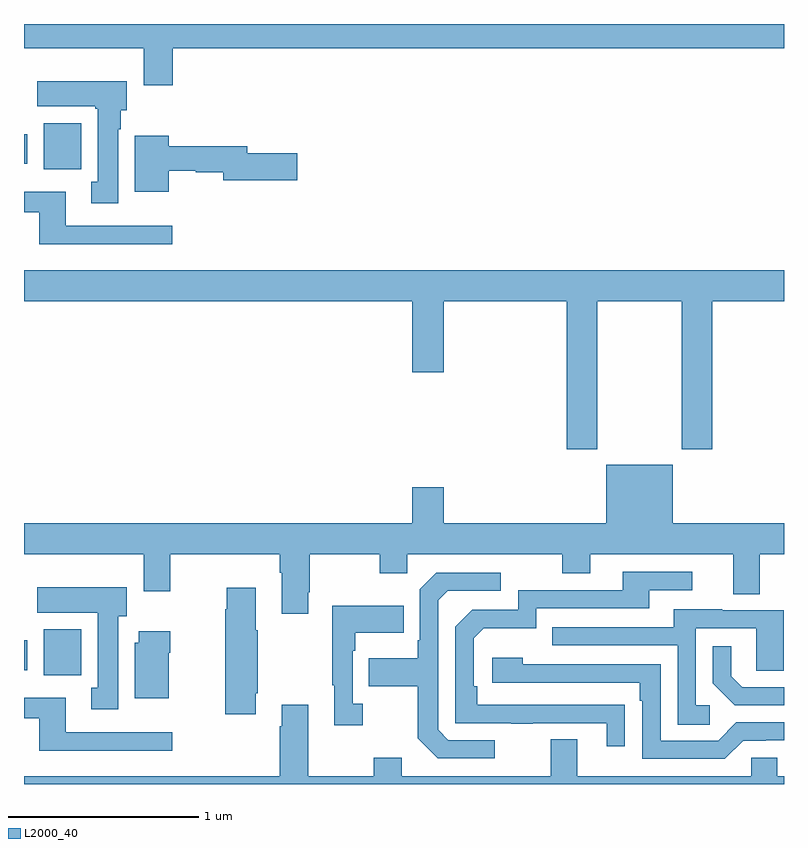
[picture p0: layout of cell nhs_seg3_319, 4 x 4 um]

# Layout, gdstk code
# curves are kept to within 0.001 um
import gdstk
lib = gdstk.Library(unit=1e-6, precision=1e-09)
def R(c, l, rs):  # rectangles x0, y0, x1, y1
    for r in rs: c.add(gdstk.rectangle(r[:2], r[2:], *l))
def P(c, l, *ps):  # polygons
    for p in ps: c.add(gdstk.Polygon(p, *l))
L2000_40 = (2000, 40)

nhs_seg3_319 = lib.new_cell('nhs_seg3_319')
R(nhs_seg3_319, L2000_40, [(127.103,674.972,127.3,675.214), (127,675,127.018,675.156), (127.103,677.636,127.3,677.878), (127,677.664,127.018,677.82)])
P(nhs_seg3_319, L2000_40, [(127.784,678.272),(131,678.272),(131,678.4),(127,678.4),(127,678.272),(127.631,678.272),(127.631,678.078),(127.784,678.078)],
  [(127.495,677.846),(127.51,677.846),(127.51,677.946),(127.54,677.946),(127.54,678.1),(127.071,678.1),(127.071,677.966),(127.375,677.966),(127.375,677.953),(127.388,677.953),(127.388,677.57),(127.355,677.57),(127.355,677.457),(127.495,677.457)],
  [(127.762,677.628),(127.905,677.628),(127.905,677.62),(128.048,677.62),(128.048,677.578),(128.437,677.578),(128.437,677.72),(128.176,677.72),(128.176,677.756),(127.762,677.756),(127.762,677.812),(127.583,677.812),(127.583,677.516),(127.762,677.516)],
  [(127.78,677.337),(127.219,677.337),(127.219,677.518),(127,677.518),(127,677.409),(127.079,677.409),(127.079,677.24),(127.78,677.24)],
  [(130.017,676.94),(130.462,676.94),(130.462,676.161),(130.622,676.161),(130.622,676.94),(131,676.94),(131,677.104),(127,677.104),(127,676.94),(129.044,676.94),(129.044,676.566),(129.208,676.566),(129.208,676.94),(129.857,676.94),(129.857,676.161),(130.017,676.161)],
  [(128.497,675.409),(128.505,675.409),(128.505,675.608),(128.872,675.608),(128.872,675.509),(129.018,675.509),(129.018,675.608),(129.832,675.608),(129.832,675.509),(129.979,675.509),(129.979,675.608),(130.733,675.608),(130.733,675.4),(130.873,675.4),(130.873,675.608),(131,675.608),(131,675.772),(130.414,675.772),(130.414,676.081),(130.064,676.081),(130.064,675.772),(129.208,675.772),(129.208,675.961),(129.044,675.961),(129.044,675.772),(127,675.772),(127,675.608),(127.631,675.608),(127.631,675.414),(127.771,675.414),(127.771,675.608),(128.345,675.608),(128.345,675.512),(128.357,675.512),(128.357,675.297),(128.497,675.297)],
  [(130.163,674.816),(129.386,674.817),(129.386,674.914),(129.366,674.914),(129.366,675.168),(129.419,675.221),(129.696,675.221),(129.696,675.324),(130.291,675.324),(130.291,675.42),(130.516,675.42),(130.516,675.516),(130.151,675.516),(130.151,675.42),(129.6,675.42),(129.6,675.318),(129.36,675.318),(129.27,675.228),(129.27,674.721),(129.565,674.721),(129.565,674.716),(129.677,674.716),(129.677,674.721),(130.067,674.721),(130.067,674.598),(130.163,674.598)],
  [(129.477,674.631),(129.234,674.631),(129.18,674.685),(129.18,675.366),(129.231,675.417),(129.508,675.417),(129.508,675.513),(129.171,675.513),(129.084,675.426),(129.084,675.157),(129.072,675.157),(129.072,675.061),(128.815,675.061),(128.815,674.914),(129.072,674.914),(129.072,674.641),(129.177,674.535),(129.477,674.535)],
  [(127.495,675.282),(127.54,675.282),(127.54,675.436),(127.071,675.436),(127.071,675.302),(127.388,675.302),(127.388,674.906),(127.355,674.906),(127.355,674.793),(127.495,674.793)],
  [(128.221,674.878),(128.229,674.878),(128.229,675.209),(128.221,675.209),(128.221,675.433),(128.066,675.433),(128.066,675.32),(128.059,675.32),(128.059,674.766),(128.221,674.766)],
  [(128.782,674.822),(128.73,674.822),(128.73,675.101),(128.743,675.101),(128.743,675.197),(128.999,675.197),(128.999,675.337),(128.622,675.337),(128.622,674.921),(128.633,674.921),(128.633,674.709),(128.782,674.709)],
  [(130.608,674.814),(130.536,674.814),(130.536,675.219),(130.854,675.219),(130.854,674.995),(130.999,674.995),(130.999,675.315),(130.675,675.315),(130.675,675.319),(130.421,675.319),(130.421,675.225),(129.781,675.225),(129.781,675.129),(130.44,675.129),(130.44,674.713),(130.608,674.713)],
  [(127.762,675.092),(127.77,675.092),(127.77,675.205),(127.604,675.205),(127.604,675.144),(127.583,675.144),(127.583,674.852),(127.762,674.852)],
  [(131,674.91),(130.78,674.91),(130.723,674.967),(130.723,675.124),(130.626,675.124),(130.626,674.93),(130.742,674.814),(131,674.814)],
  [(130.785,674.628),(130.904,674.628),(130.904,674.631),(131,674.631),(131,674.724),(130.749,674.724),(130.653,674.628),(130.35,674.628),(130.35,675.03),(129.626,675.03),(129.626,675.064),(129.465,675.064),(129.465,674.934),(130.241,674.934),(130.241,674.837),(130.254,674.837),(130.254,674.532),(130.689,674.532)],
  [(127.78,674.673),(127.219,674.673),(127.219,674.854),(127,674.854),(127,674.745),(127.079,674.745),(127.079,674.576),(127.78,674.576)],
  [(128.357,674.818),(128.357,674.705),(128.345,674.705),(128.345,674.44),(127,674.44),(127,674.4),(131,674.4),(131,674.44),(130.965,674.44),(130.965,674.538),(130.827,674.538),(130.827,674.44),(129.913,674.44),(129.913,674.635),(129.773,674.635),(129.773,674.44),(128.989,674.44),(128.989,674.539),(128.842,674.539),(128.842,674.44),(128.497,674.44),(128.497,674.818)])

lib.write_gds('nhs_seg3_319.gds')
